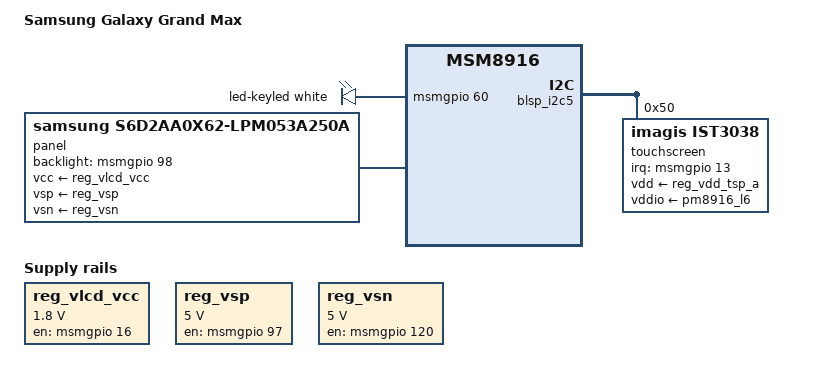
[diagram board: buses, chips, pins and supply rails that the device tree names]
// SPDX-License-Identifier: GPL-2.0-only

/dts-v1/;

#include "msm8916-samsung-e2015-common.dtsi"
#include <dt-bindings/leds/common.h>

/*
 * NOTE: The original firmware from Samsung can only boot ARM32 kernels on some
 * variants.
 * Unfortunately, the firmware is signed and cannot be replaced easily.
 * There seems to be no way to boot ARM64 kernels on 32-bit devices at the
 * moment, even though the hardware would support it.
 *
 * However, it is possible to use this device tree by compiling an ARM32 kernel
 * instead. For clarity and build testing this device tree is maintained next
 * to the other MSM8916 device trees. However, it is actually used through
 * arch/arm/boot/dts/qcom-msm8916-samsung-grandmax.dts
 */

/ {
	model = "Samsung Galaxy Grand Max";
	compatible = "samsung,grandmax", "qcom,msm8916";
	chassis-type = "handset";

	/delete-node/ gpio-hall-sensor;
	/delete-node/ i2c-nfc;
	/delete-node/ i2c-tkey;

	gpio-leds {
		compatible = "gpio-leds";
		led-keyled {
			function = LED_FUNCTION_KBD_BACKLIGHT;
			color = <LED_COLOR_ID_WHITE>;

			gpios = <&msmgpio 60 GPIO_ACTIVE_HIGH>;

			pinctrl-names = "default";
			pinctrl-0 = <&gpio_leds_default>;
		};
	};

	reg_vlcd_vcc: regulator-vlcd-vcc {
		compatible = "regulator-fixed";
		regulator-name = "vlcd_vcc";
		regulator-min-microvolt = <1800000>;
		regulator-max-microvolt = <1800000>;

		gpio = <&msmgpio 16 GPIO_ACTIVE_HIGH>;
		enable-active-high;

		pinctrl-names = "default";
		pinctrl-0 = <&lcd_on_default>;
	};

	reg_vsp: regulator-vsp {
		compatible = "regulator-fixed";
		regulator-name = "reg-vsp";
		regulator-min-microvolt = <5000000>;
		regulator-max-microvolt = <5000000>;

		gpio = <&msmgpio 97 GPIO_ACTIVE_HIGH>;
		enable-active-high;

		pinctrl-names = "default";
		pinctrl-0 = <&lcd_enp_default>;
	};

	reg_vsn: regulator-vsn {
		compatible = "regulator-fixed";
		regulator-name = "reg-vsn";
		regulator-min-microvolt = <5000000>;
		regulator-max-microvolt = <5000000>;

		gpio = <&msmgpio 120 GPIO_ACTIVE_HIGH>;
		enable-active-high;

		pinctrl-names = "default";
		pinctrl-0 = <&lcd_enn_default>;
	};
};

&panel {
	compatible = "samsung,s6d2aa0x62-lpm053a250a";

	vcc-supply = <&reg_vlcd_vcc>;
	vsp-supply = <&reg_vsp>;
	vsn-supply = <&reg_vsn>;

	backlight-gpios = <&msmgpio 98 GPIO_ACTIVE_HIGH>;

	pinctrl-names = "default";
	pinctrl-0 = <&lcd_bl_en_default>;
};

&blsp_i2c5 {
	status = "okay";

	touchscreen@50 {
		compatible = "imagis,ist3038";
		reg = <0x50>;

		interrupt-parent = <&msmgpio>;
		interrupts = <13 IRQ_TYPE_EDGE_FALLING>;

		touchscreen-size-x = <720>;
		touchscreen-size-y = <1280>;

		vdd-supply = <&reg_vdd_tsp_a>;
		vddio-supply = <&pm8916_l6>;

		pinctrl-names = "default";
		pinctrl-0 = <&ts_int_default>;
	};
};

&reg_motor_vdd {
	gpio = <&msmgpio 72 GPIO_ACTIVE_HIGH>;
};

&reg_touch_key {
	status = "disabled";
};

&msmgpio {
	gpio_leds_default: gpio-led-default-state {
		pins = "gpio60";
		function = "gpio";

		drive-strength = <2>;
		bias-disable;
	};

	lcd_bl_en_default: lcd-bl-en-default-state {
		pins = "gpio98";
		function = "gpio";

		drive-strength = <2>;
		bias-disable;
	};

	lcd_enp_default: lcd-enp-default-state {
		pins = "gpio97";
		function = "gpio";

		drive-strength = <2>;
		bias-disable;
	};

	lcd_enn_default: lcd-enn-default-state {
		pins = "gpio120";
		function = "gpio";

		drive-strength = <2>;
		bias-disable;
	};

	lcd_on_default: lcd-on-default-state {
		pins = "gpio16";
		function = "gpio";

		drive-strength = <2>;
		bias-disable;
	};
};

&motor_en_default {
	pins = "gpio72";
};
